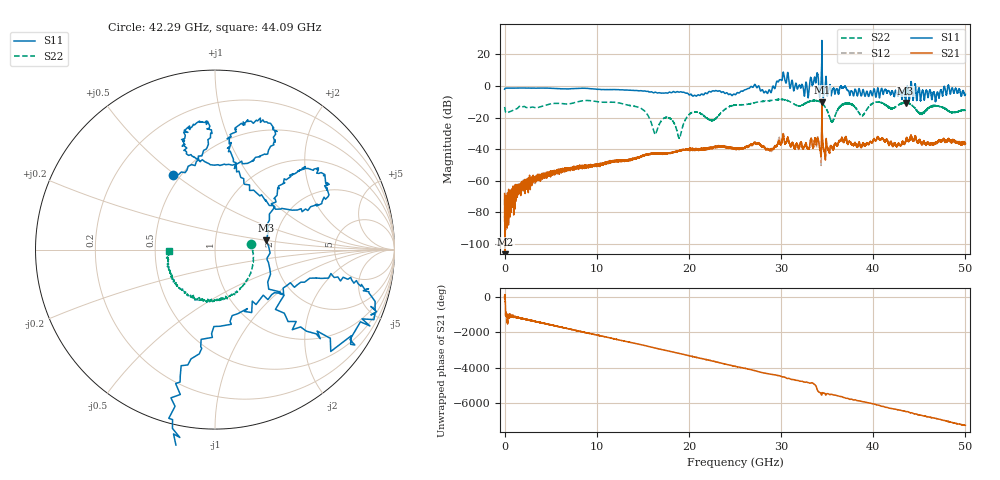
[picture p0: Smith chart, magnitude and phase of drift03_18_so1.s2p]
!Created with skrf (http://scikit-rf.org).
# Hz S RI R 50.0
!freq ReS11 ImS11 ReS21 ImS21 ReS12 ImS12 ReS22 ImS22
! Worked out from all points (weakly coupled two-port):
!   10000 points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, 5.3 MHz to 50 GHz, reference 50 ohm
!   highest |S21| = -10.36 dB at 34.43 GHz (marker M1); lowest = -106.3 dB at 70.3 MHz (marker M2)
!   lowest |S11| = -10.8 dB at 43.52 GHz (marker M3), VSWR 1.82, Z = 89.2 + j10 ohm
!   |S11| at or under -10 dB: 43.49765 GHz to 43.54289 GHz (45.24 MHz wide, 0.104 % of centre)
!   |S22| runs from -33.2 to -8.4 dB; largest |S21 - S12| = 0.099
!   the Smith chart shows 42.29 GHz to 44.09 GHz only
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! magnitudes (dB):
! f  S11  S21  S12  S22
! 5.3 MHz  -2.1  -68.0  -75.1  -13.3
! 70.3 MHz  -1.5  -106.3  -79.9  -15.6
! 2.83 GHz  -1.4  -60.8  -59.6  -13.6
! 8.34 GHz  -1.5  -51.7  -50.8  -9.5
! 14.52 GHz  -3.1  -45.0  -45.3  -13.5
! 16.67 GHz  -4.4  -42.7  -43.0  -25.9
! 17.81 GHz  -4.2  -42.5  -42.6  -20.1
! 18.97 GHz  -3.9  -40.9  -40.9  -33.1
! 20.28 GHz  -5.5  -40.3  -40.0  -17.0
! 22.56 GHz  -3.1  -39.1  -39.2  -21.7
! 25.01 GHz  -5.5  -39.7  -39.9  -12.2
! 28.72 GHz  -2.5  -40.4  -40.2  -9.4
! 30.14 GHz  4.3  -33.5  -34.0  -8.5
! 32.74 GHz  2.0  -37.4  -36.5  -10.5
! 33.34 GHz  2.5  -34.7  -35.0  -9.4
! 34.43 GHz  28.7  -10.4  -13.0  -10.9
! 35.54 GHz  -3.1  -38.7  -39.0  -23.0
! 36.97 GHz  0.0  -32.7  -33.0  -11.3
! 38.76 GHz  -5.6  -38.2  -38.1  -18.9
! 41.67 GHz  -3.2  -36.9  -36.8  -13.3
! 43.52 GHz  -10.8  -35.1  -35.2  -10.8
! 50 GHz  -5.3  -36.5  -36.8  -15.5
